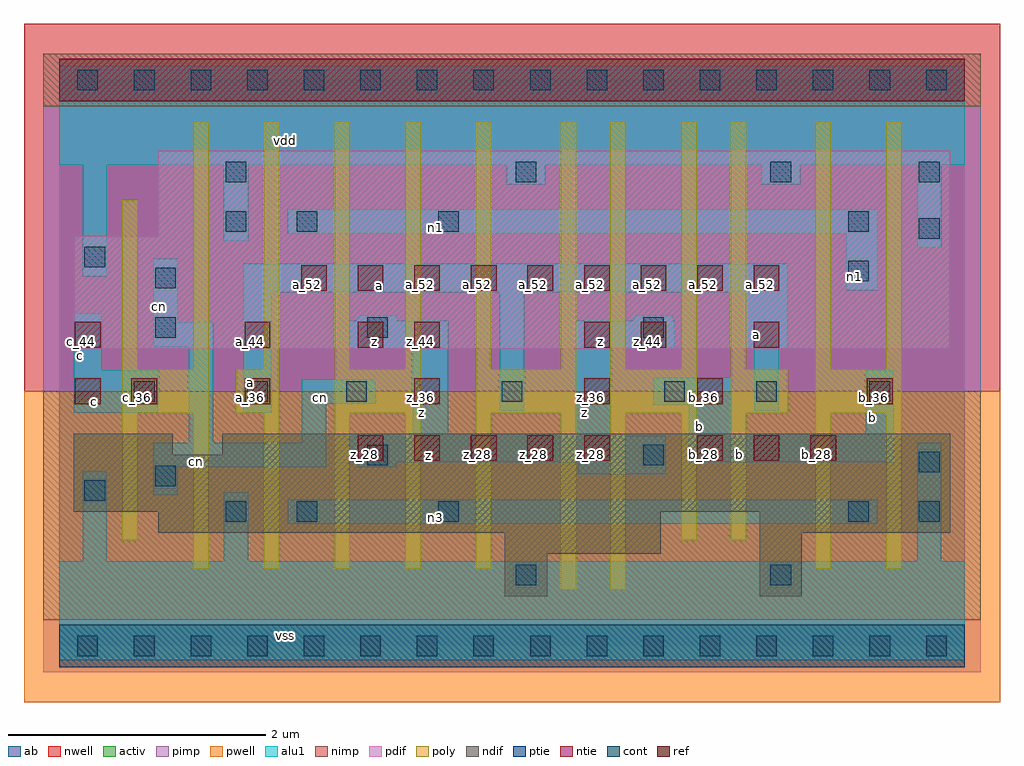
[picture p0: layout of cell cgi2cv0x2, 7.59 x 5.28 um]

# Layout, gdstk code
import gdstk
lib = gdstk.Library(unit=1e-6, precision=2.5e-09)
def R(c, l, rs):  # rectangles x0, y0, x1, y1
    for r in rs: c.add(gdstk.rectangle(r[:2], r[2:], *l))
def A(c, l, x, y, w, h, nx, ny, dx, dy):  # array of equal rectangles
    R(c, l, [(x+i*dx, y+j*dy, x+i*dx+w, y+j*dy+h) for i in range(nx) for j in range(ny)])
ndif = (3, 0)
pdif = (4, 0)
ntie = (5, 0)
ptie = (6, 0)
ref = (24, 0)
cont = (25, 0)
pwell = (41, 0)
nwell = (42, 0)
activ = (43, 0)
pimp = (44, 0)
nimp = (45, 0)
poly = (46, 0)
alu1 = (49, 0)
ab = (63, 0)

cgi2cv0x2 = lib.new_cell('cgi2cv0x2')
R(cgi2cv0x2, ndif, [(3.465,0.385,3.795,0.715), (5.445,0.385,5.775,0.88), (3.465,0.715,4.675,0.88), (0.77,0.88,4.675,1.045), (5.445,0.88,6.93,1.045), (0.11,1.045,6.93,1.485), (0.11,1.485,0.88,1.65), (1.265,1.485,6.93,1.65)])
R(cgi2cv0x2, pdif, [(0.11,2.31,6.93,3.19), (0.77,3.19,6.93,3.85)])
R(cgi2cv0x2, ntie, [(0,4.235,7.04,4.565)])
R(cgi2cv0x2, ptie, [(0,-0.165,7.04,0.165)])
A(cgi2cv0x2, ref, 2.32, 1.44, 0.2, 0.2, 5, 1, 0.44, 0)
A(cgi2cv0x2, ref, 4.96, 1.44, 0.2, 0.2, 3, 1, 0.44, 0)
A(cgi2cv0x2, ref, 1.44, 1.88, 0.2, 0.2, 3, 1, 1.32, 0)
A(cgi2cv0x2, ref, 1.88, 2.76, 0.2, 0.2, 9, 1, 0.44, 0)
R(cgi2cv0x2, ref, [(0.12,1.88,0.32,2.08), (0.56,1.88,0.76,2.08), (4.96,1.88,5.16,2.08), (6.28,1.88,6.48,2.08), (0.12,2.32,0.32,2.52), (1.44,2.32,1.64,2.52), (2.32,2.32,2.52,2.52), (2.76,2.32,2.96,2.52), (4.08,2.32,4.28,2.52), (4.52,2.32,4.72,2.52), (5.4,2.32,5.6,2.52)])
A(cgi2cv0x2, cont, 0.14, -0.08, 0.16, 0.16, 16, 2, 0.44, 4.4)
R(cgi2cv0x2, cont, [(3.55,0.47,3.71,0.63), (5.53,0.47,5.69,0.63), (1.295,0.965,1.455,1.125), (1.845,0.965,2.005,1.125), (2.945,0.965,3.105,1.125), (6.135,0.965,6.295,1.125), (6.685,0.965,6.845,1.125), (0.195,1.13,0.355,1.29), (0.745,1.24,0.905,1.4), (6.685,1.35,6.845,1.51), (2.395,1.405,2.555,1.565), (4.54,1.405,4.7,1.565), (0.58,1.9,0.74,2.06), (1.46,1.9,1.62,2.06), (2.23,1.9,2.39,2.06), (3.44,1.9,3.6,2.06), (4.705,1.9,4.865,2.06), (5.42,1.9,5.58,2.06), (6.3,1.9,6.46,2.06), (0.745,2.395,0.905,2.555), (2.395,2.395,2.555,2.555), (4.54,2.395,4.7,2.555), (0.745,2.78,0.905,2.94), (6.135,2.835,6.295,2.995), (0.195,2.945,0.355,3.105), (6.685,3.165,6.845,3.325), (1.295,3.22,1.455,3.38), (1.845,3.22,2.005,3.38), (2.945,3.22,3.105,3.38), (6.135,3.22,6.295,3.38), (1.295,3.605,1.455,3.765), (3.55,3.605,3.71,3.765), (5.53,3.605,5.69,3.765), (6.685,3.605,6.845,3.765)])
R(cgi2cv0x2, pwell, [(-0.275,-0.44,7.315,1.98)])
R(cgi2cv0x2, nwell, [(-0.275,1.98,7.315,4.84)])
R(cgi2cv0x2, activ, [(0,-0.165,7.04,0.165), (3.465,0.385,3.795,0.715), (5.445,0.385,5.775,0.88), (3.465,0.715,4.675,0.88), (0.77,0.88,4.675,1.045), (5.445,0.88,6.93,1.045), (0.11,1.045,6.93,1.485), (0.11,1.485,0.88,1.65), (1.265,1.485,6.93,1.65), (0.11,2.31,6.93,3.19), (0.77,3.19,6.93,3.85), (0,4.235,7.04,4.565)])
R(cgi2cv0x2, pimp, [(-0.125,-0.205,7.165,0.205), (-0.125,1.98,7.165,4.195)])
R(cgi2cv0x2, nimp, [(-0.125,0.205,7.165,1.98), (-0.125,4.195,7.165,4.605)])
A(cgi2cv0x2, poly, 1.04, 0.6, 0.12, 1.21, 5, 1, 0.55, 0)
A(cgi2cv0x2, poly, 1.04, 2.15, 0.12, 1.925, 5, 1, 0.55, 0)
R(cgi2cv0x2, poly, [(3.9,0.435,4.02,1.81), (4.285,0.435,4.405,1.81), (5.88,0.6,6,1.81), (6.43,0.6,6.55,1.81), (0.49,0.82,0.61,1.81), (4.835,0.82,4.955,1.81), (5.22,0.82,5.34,1.81), (0.49,1.81,1.16,2.15), (1.37,1.81,1.71,2.15), (2.14,1.81,2.81,2.15), (3.24,1.81,4.02,2.15), (4.285,1.81,4.955,2.15), (5.22,1.81,5.67,2.15), (5.88,1.81,6.55,2.15), (0.49,2.15,0.61,3.47), (3.9,2.15,4.02,4.075), (4.285,2.15,4.405,4.075), (4.835,2.15,4.955,4.075), (5.22,2.15,5.34,4.075), (5.88,2.15,6,4.075), (6.43,2.15,6.55,4.075)])
R(cgi2cv0x2, alu1, [(0,-0.11,7.04,0.66), (0.18,0.66,0.37,1.36), (1.28,0.66,1.47,1.195), (6.67,0.66,6.86,1.58), (1.775,0.95,6.365,1.14), (0.73,1.17,0.92,1.39), (4.03,1.335,4.715,1.43), (0.73,1.39,2.075,1.58), (2.325,1.39,2.625,1.43), (2.255,1.43,4.715,1.635), (4.895,1.43,6.49,1.65), (1.005,1.58,1.195,2.325), (1.885,1.58,2.075,1.885), (2.255,1.635,4.29,1.65), (2.75,1.65,3.025,2.31), (4.015,1.65,4.29,2.31), (4.895,1.65,5.225,1.87), (6.27,1.65,6.49,2.145), (0.11,1.815,0.77,2.145), (1.43,1.815,1.65,2.75), (3.425,1.83,3.615,2.75), (5.405,1.83,5.595,2.31), (4.62,1.87,5.225,2.09), (1.885,1.885,2.46,2.075), (0.11,2.145,0.33,2.585), (2.255,2.31,3.025,2.53), (4.015,2.31,4.785,2.53), (5.335,2.31,5.665,2.75), (0.73,2.325,1.195,2.515), (0.73,2.515,0.92,3.01), (2.325,2.53,2.625,2.57), (4.47,2.53,4.77,2.57), (1.43,2.75,5.665,2.97), (6.12,2.765,6.365,3.205), (0.18,2.875,0.37,3.74), (6.67,3.095,6.86,3.74), (1.28,3.15,1.47,3.74), (1.775,3.205,6.365,3.395), (3.48,3.59,3.78,3.74), (5.46,3.59,5.76,3.74), (0,3.74,7.04,4.51)])
R(cgi2cv0x2, ab, [(0,0,7.04,4.4)])
cgi2cv0x2.add(gdstk.Label('vss', (1.76,0.0825), layer=49, texttype=0))
cgi2cv0x2.add(gdstk.Label('n3', (2.9225,0.9975), layer=49, texttype=0))
cgi2cv0x2.add(gdstk.Label('b', (5.2925,1.485), layer=49, texttype=0))
cgi2cv0x2.add(gdstk.Label('z', (2.87,1.48), layer=49, texttype=0))
cgi2cv0x2.add(gdstk.Label('b', (6.325,1.7725), layer=49, texttype=0))
cgi2cv0x2.add(gdstk.Label('b', (4.9775,1.705), layer=49, texttype=0))
cgi2cv0x2.add(gdstk.Label('cn', (1.065,1.4375), layer=49, texttype=0))
cgi2cv0x2.add(gdstk.Label('z', (4.0825,1.815), layer=49, texttype=0))
cgi2cv0x2.add(gdstk.Label('a', (5.4175,2.42), layer=49, texttype=0))
cgi2cv0x2.add(gdstk.Label('z', (4.2075,2.365), layer=49, texttype=0))
cgi2cv0x2.add(gdstk.Label('z', (2.8175,1.815), layer=49, texttype=0))
cgi2cv0x2.add(gdstk.Label('cn', (2.0275,1.9325), layer=49, texttype=0))
cgi2cv0x2.add(gdstk.Label('z', (2.4475,2.365), layer=49, texttype=0))
cgi2cv0x2.add(gdstk.Label('a', (1.485,2.0475), layer=49, texttype=0))
cgi2cv0x2.add(gdstk.Label('c', (0.275,1.8975), layer=49, texttype=0))
cgi2cv0x2.add(gdstk.Label('n1', (6.18,2.875), layer=49, texttype=0))
cgi2cv0x2.add(gdstk.Label('a', (2.4875,2.805), layer=49, texttype=0))
cgi2cv0x2.add(gdstk.Label('cn', (0.7775,2.6375), layer=49, texttype=0))
cgi2cv0x2.add(gdstk.Label('c', (0.165,2.255), layer=49, texttype=0))
cgi2cv0x2.add(gdstk.Label('n1', (2.9225,3.2525), layer=49, texttype=0))
cgi2cv0x2.add(gdstk.Label('vdd', (1.76,3.9325), layer=49, texttype=0))
cgi2cv0x2.add(gdstk.Label('b_36', (5.01,1.93), layer=24, texttype=0))
cgi2cv0x2.add(gdstk.Label('b_28', (5.01,1.49), layer=24, texttype=0))
cgi2cv0x2.add(gdstk.Label('a_52', (5.45,2.81), layer=24, texttype=0))
cgi2cv0x2.add(gdstk.Label('z_44', (2.81,2.37), layer=24, texttype=0))
cgi2cv0x2.add(gdstk.Label('c_44', (0.17,2.37), layer=24, texttype=0))
cgi2cv0x2.add(gdstk.Label('z_36', (2.81,1.93), layer=24, texttype=0))
cgi2cv0x2.add(gdstk.Label('a_44', (1.49,2.37), layer=24, texttype=0))
cgi2cv0x2.add(gdstk.Label('c_36', (0.61,1.93), layer=24, texttype=0))
cgi2cv0x2.add(gdstk.Label('c_36', (0.17,1.93), layer=24, texttype=0))
cgi2cv0x2.add(gdstk.Label('a_36', (1.49,1.93), layer=24, texttype=0))
cgi2cv0x2.add(gdstk.Label('z_44', (2.37,2.37), layer=24, texttype=0))
cgi2cv0x2.add(gdstk.Label('a_52', (1.93,2.81), layer=24, texttype=0))
cgi2cv0x2.add(gdstk.Label('a_52', (2.37,2.81), layer=24, texttype=0))
cgi2cv0x2.add(gdstk.Label('z_28', (2.37,1.49), layer=24, texttype=0))
cgi2cv0x2.add(gdstk.Label('z_28', (2.81,1.49), layer=24, texttype=0))
cgi2cv0x2.add(gdstk.Label('z_28', (3.25,1.49), layer=24, texttype=0))
cgi2cv0x2.add(gdstk.Label('z_28', (3.69,1.49), layer=24, texttype=0))
cgi2cv0x2.add(gdstk.Label('z_28', (4.13,1.49), layer=24, texttype=0))
cgi2cv0x2.add(gdstk.Label('z_44', (4.57,2.37), layer=24, texttype=0))
cgi2cv0x2.add(gdstk.Label('z_44', (4.13,2.37), layer=24, texttype=0))
cgi2cv0x2.add(gdstk.Label('z_36', (4.13,1.93), layer=24, texttype=0))
cgi2cv0x2.add(gdstk.Label('a_52', (3.25,2.81), layer=24, texttype=0))
cgi2cv0x2.add(gdstk.Label('a_52', (3.69,2.81), layer=24, texttype=0))
cgi2cv0x2.add(gdstk.Label('a_52', (4.13,2.81), layer=24, texttype=0))
cgi2cv0x2.add(gdstk.Label('a_52', (4.57,2.81), layer=24, texttype=0))
cgi2cv0x2.add(gdstk.Label('a_52', (5.01,2.81), layer=24, texttype=0))
cgi2cv0x2.add(gdstk.Label('a_44', (5.45,2.37), layer=24, texttype=0))
cgi2cv0x2.add(gdstk.Label('b_28', (5.45,1.49), layer=24, texttype=0))
cgi2cv0x2.add(gdstk.Label('b_28', (5.89,1.49), layer=24, texttype=0))
cgi2cv0x2.add(gdstk.Label('b_36', (6.33,1.93), layer=24, texttype=0))
cgi2cv0x2.add(gdstk.Label('a_52', (2.81,2.81), layer=24, texttype=0))

lib.write_gds('cgi2cv0x2.gds')
